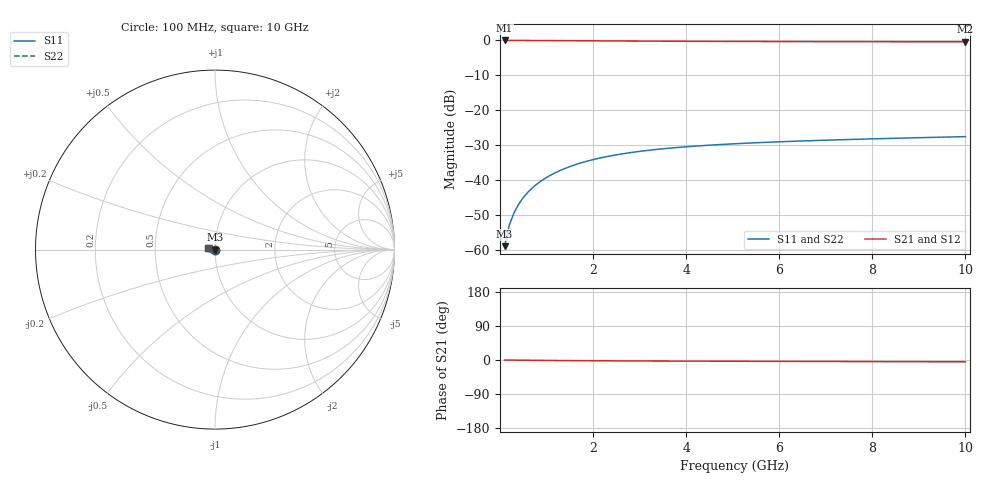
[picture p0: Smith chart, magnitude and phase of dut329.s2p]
! Touchstone file exported from HFSS 2024.1.0
!  File:  C:/UserFiles/LocalFiles/RDL_TSV_Batchsim/temp_TSV1_329_1779617709.aedt
!  Generated:  06:20:20 PM May 24, 2026
!  Design:  TSV1
!  Project:  temp_TSV1_329_1779617709
!  Setup:  Setup1
!  Solution:  Sweep
! Variables:
!  dtsv = 10.61um
!  hbump = 3um
!  htsv = 72.55um
!  lrdl = 252.1521522um
!  p = 40
!  p1 = 56.22um
!  t = 500um
!  trdl = 3um
!  wrdl = 24.89489489um
# GHz S MA R 50.000000
! Terminal data exported
! Port[1] = TSV22_T1
! Port[2] = TSV22_T2
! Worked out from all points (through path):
!   100 points, 100 MHz to 10 GHz, reference 50 ohm
!   highest |S21| = 0.00 dB at 100 MHz (marker M1); lowest = -0.4 dB at 10 GHz (marker M2)
!   lowest |S11| = -58.9 dB at 100 MHz (marker M3), VSWR 1.00, Z = 50 - j0.113 ohm
!   |S11| at or under -10 dB: start of sweep to end of sweep
!   |S22| runs from -58.9 to -27.5 dB; largest |S21 - S12| = 4.2e-15
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0.1  0.001132 -85.9  0.9998 -0.1  0.9998 -0.1  0.001132 -85.9
! Gamma 0 0 0 0
! Port Impedance 50 0 50 0
0.2  0.002254 -90.8  0.9997 -0.2  0.9997 -0.2  0.002254 -90.8
0.3  0.003377 -93.8  0.9995 -0.4  0.9995 -0.4  0.003377 -93.8
0.4  0.004495 -96.2  0.9992 -0.5  0.9992 -0.5  0.004495 -96.2
0.5  0.005604 -98.5  0.9988 -0.6  0.9988 -0.6  0.005604 -98.5
0.6  0.006699 -100.7  0.9984 -0.7  0.9984 -0.7  0.006699 -100.7
0.7  0.007779 -102.8  0.9979 -0.8  0.9979 -0.8  0.007779 -102.8
0.8  0.00884 -104.9  0.9974 -0.9  0.9974 -0.9  0.00884 -104.9
0.9  0.00988 -106.9  0.9968 -1.0  0.9968 -1.0  0.00988 -106.9
1.1  0.01189 -110.8  0.9954 -1.2  0.9954 -1.2  0.01189 -110.8
1.4  0.01472 -116.4  0.9931 -1.5  0.9931 -1.5  0.01472 -116.4
1.6  0.01647 -119.9  0.9914 -1.7  0.9914 -1.7  0.01647 -119.9
1.8  0.0181 -123.3  0.9897 -1.8  0.9897 -1.8  0.0181 -123.3
2.1  0.02035 -128.0  0.9871 -2.0  0.9871 -2.0  0.02035 -128.0
2.5  0.02299 -133.9  0.9837 -2.3  0.9837 -2.3  0.02299 -133.9
2.9  0.02525 -139.3  0.9805 -2.5  0.9805 -2.5  0.02525 -139.3
3.4  0.02764 -145.3  0.9769 -2.7  0.9769 -2.7  0.02764 -145.3
4.2  0.03068 -153.7  0.972 -3.0  0.972 -3.0  0.03068 -153.7
5.1  0.03329 -161.7  0.9678 -3.3  0.9678 -3.3  0.03329 -161.7
6.7  0.03673 -173.2  0.9625 -3.8  0.9625 -3.8  0.03673 -173.2
8.4  0.03957 177.0  0.9588 -4.3  0.9588 -4.3  0.03957 177.0
10  0.04193 169.3  0.9565 -4.8  0.9565 -4.8  0.04193 169.3
